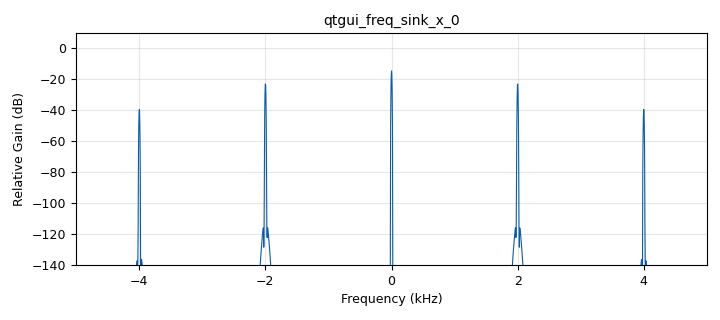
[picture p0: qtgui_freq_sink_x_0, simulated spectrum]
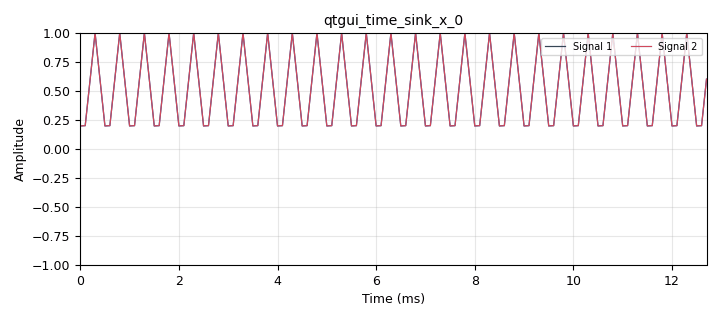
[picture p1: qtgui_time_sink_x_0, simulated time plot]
options:
  parameters:
    author: Michel_Saenz_E1C_G4
    generate_options: qt_gui
    id: Lab_comu_1
    output_language: python
    title: punto_5
  states: {}

blocks:
- name: freq
  id: variable_qtgui_range
  parameters:
    label: frecuency
    start: 1e3
    step: 1e3
    stop: 80e3
    value: 2e3
  states: {}
- name: samp_rate
  id: variable_qtgui_range
  parameters:
    label: 'frecuencia de muestreo  '
    start: 1e3
    step: 1e3
    stop: 80e3
    value: 10e3
  states: {}
- name: analog_sig_source_x_0
  id: analog_sig_source_x
  parameters:
    amp: '1'
    freq: freq
    offset: '0'
    phase: '0'
    samp_rate: samp_rate
    type: float
    waveform: analog.GR_TRI_WAVE
  states: {}
- name: blocks_throttle_0
  id: blocks_throttle
  parameters:
    samples_per_second: samp_rate
    type: float
  states: {}
- name: qtgui_freq_sink_x_0
  id: qtgui_freq_sink_x
  parameters:
    bw: samp_rate
    fc: '0'
    fftsize: '2048'
    type: float
  states: {}
- name: qtgui_time_sink_x_0
  id: qtgui_time_sink_x
  parameters:
    nconnections: '2'
    size: '128'
    srate: samp_rate
    type: float
  states: {}

connections:
- [analog_sig_source_x_0, '0', blocks_throttle_0, '0']
- [analog_sig_source_x_0, '0', qtgui_time_sink_x_0, '1']
- [blocks_throttle_0, '0', qtgui_freq_sink_x_0, '0']
- [blocks_throttle_0, '0', qtgui_time_sink_x_0, '0']

metadata:
  file_format: 1
  grc_version: 3.10.10.0
